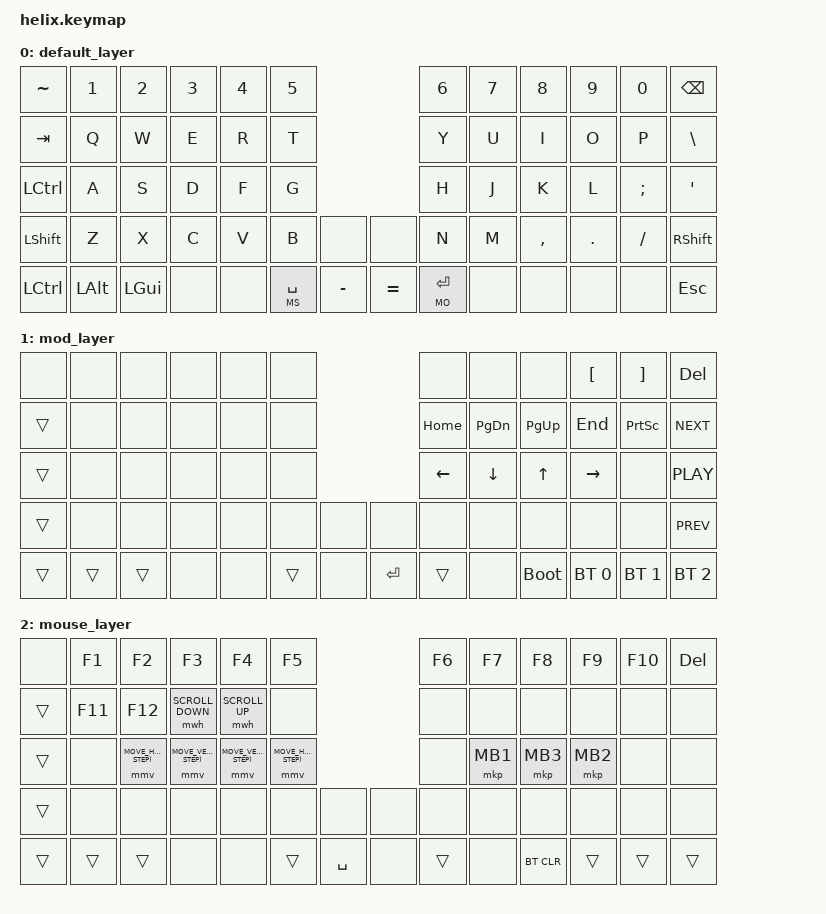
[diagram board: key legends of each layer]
/*
 * Copyright (c) 2020 The ZMK Contributors
 *
 * SPDX-License-Identifier: MIT
 */

#include <behaviors.dtsi>
#include <dt-bindings/zmk/keys.h>
#include <dt-bindings/zmk/bt.h>
#include <dt-bindings/zmk/outputs.h>
#include <dt-bindings/zmk/matrix_transform.h>
#include <dt-bindings/zmk/mouse.h>

#define DEFAULT 0
#define MO      1
#define MS      2

#define MOUSE_STEP 1200
#define MMV_MOVE_UP    &mmv MOVE_VERT(-MOUSE_STEP)
#define MMV_MOVE_DOWN  &mmv MOVE_VERT(MOUSE_STEP)
#define MMV_MOVE_LEFT  &mmv MOVE_HOR(-MOUSE_STEP)
#define MMV_MOVE_RIGHT &mmv MOVE_HOR(MOUSE_STEP)

/ {
    behaviors {
        lt {
            flavor = "balanced";
        };
    };

    keymap {
        compatible = "zmk,keymap";

        default_layer {
            bindings = <
&kp TILDE &kp N1   &kp N2   &kp N3 &kp N4 &kp N5                           &kp N6     &kp N7 &kp N8    &kp N9  &kp N0   &kp BSPC
&kp TAB   &kp Q    &kp W    &kp E  &kp R  &kp T                            &kp Y      &kp U  &kp I     &kp O   &kp P    &kp BSLH
&kp LCTRL &kp A    &kp S    &kp D  &kp F  &kp G                            &kp H      &kp J  &kp K     &kp L   &kp SEMI &kp SQT
&kp LSHFT &kp Z    &kp X    &kp C  &kp V  &kp B        &none     &none     &kp N      &kp M  &kp COMMA &kp DOT &kp FSLH &kp RSHFT
&kp LCTRL &kp LALT &kp LGUI &none  &none  &lt MS SPACE &kp MINUS &kp EQUAL &lt MO RET &none  &none     &none   &none    &kp ESC
            >;
        };

        mod_layer {
            bindings = <
&none  &none  &none  &none  &none  &none                &none    &none     &none       &kp LBKT     &kp RBKT     &kp DEL
&trans &none  &none  &none  &none  &none                &kp HOME &kp PG_DN &kp PG_UP   &kp END      &kp PSCRN    &kp C_NEXT
&trans &none  &none  &none  &none  &none                &kp LEFT &kp DOWN  &kp UP      &kp RIGHT    &none        &kp C_PLAY
&trans &none  &none  &none  &none  &none  &none &none   &none    &none     &none       &none        &none        &kp C_PREV
&trans &trans &trans &none  &none  &trans &none &kp RET &trans   &none     &bootloader &bt BT_SEL 0 &bt BT_SEL 1 &bt BT_SEL 2
            >;
        };

        mouse_layer {
            bindings = <
&none  &kp F1  &kp F2         &kp F3           &kp F4         &kp F5                         &kp F6 &kp F7   &kp F8     &kp F9   &kp F10 &kp DEL
&trans &kp F11 &kp F12        &mwh SCROLL_DOWN &mwh SCROLL_UP &none                          &none  &none    &none      &none    &none   &none
&trans &none   MMV_MOVE_LEFT  MMV_MOVE_DOWN    MMV_MOVE_UP    MMV_MOVE_RIGHT                 &none  &mkp MB1 &mkp MB3   &mkp MB2 &none   &none
&trans &none   &none          &none            &none          &none          &none     &none &none  &none    &none      &none    &none   &none
&trans &trans  &trans         &none            &none          &trans         &kp SPACE &none &trans &none    &bt BT_CLR &trans   &trans  &trans
            >;
        };
    };
};
